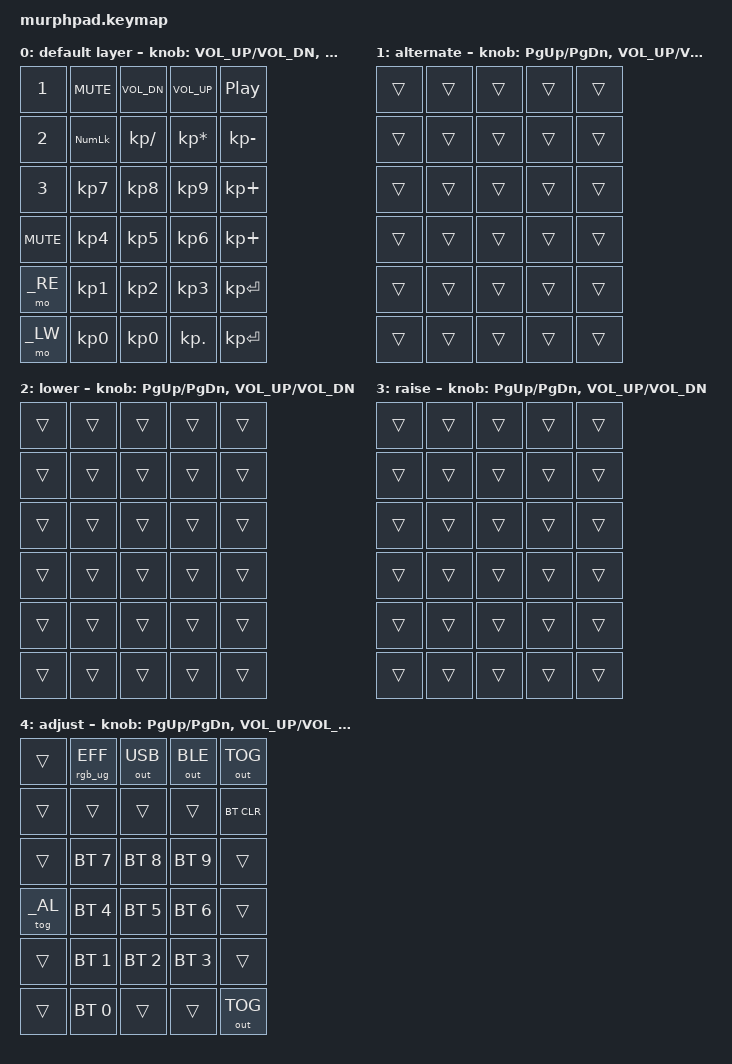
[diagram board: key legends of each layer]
/*
 * Copyright (c) 2021 The ZMK Contributors
 *
 * SPDX-License-Identifier: MIT
 */

#include <behaviors.dtsi>
#include <dt-bindings/zmk/keys.h>
#include <dt-bindings/zmk/rgb.h>
#include <dt-bindings/zmk/outputs.h>
#include <dt-bindings/zmk/bt.h>

#define _DF  0
#define _AL  1
#define _LW  2
#define _RE  3
#define _AJ  4

#define TIMEOUT 300

&encoder_1 {
    status = "okay";
};

&encoder_2 {
    status = "okay";
};

/ {
    conditional_layers {
        compatible = "zmk,conditional-layers";

        adjust_layer {
            if-layers = <_LW _RE>;
            then-layer = <_AJ>;
        };
    };

    combos {
        compatible = "zmk,combos";

        combo_btclr {
            timeout-ms = <TIMEOUT>;
            key-positions = <1 6>;
            bindings = <&bt BT_CLR>;
        };

        combo_reset {
            timeout-ms = <TIMEOUT>;
            key-positions = <1 3>;
            bindings = <&sys_reset>;
        };

        combo_bootloader {
            timeout-ms = <TIMEOUT>;
            key-positions = <1 2>;
            bindings = <&bootloader>;
        };

        combo_bt_nxt {
            timeout-ms = <TIMEOUT>;
            key-positions = <1 4>;
            bindings = <&bt BT_NXT>;
        };
    };

    sensors {
        compatible = "zmk,keymap-sensors";
        sensors = <&encoder_1 &encoder_2>;
    };

    keymap {
         compatible = "zmk,keymap";

         default_layer {
             display-name = "default layer";
             bindings = <
//           ┌────────────┬────────────┬───────────────┬─────────────────┬──────────────┐
               &kp N1       &kp C_MUTE   &kp C_VOL_DN    &kp C_VOL_UP      &kp C_PP
//           ├────────────┼────────────┼───────────────┼─────────────────┼──────────────┤
               &kp N2       &kp KP_NUM   &kp KP_DIVIDE   &kp KP_MULTIPLY   &kp KP_MINUS
//           ├────────────┼────────────┼───────────────┼─────────────────┼──────────────┤
               &kp N3       &kp KP_N7    &kp KP_N8       &kp KP_N9         &kp KP_PLUS
//           ├────────────┼────────────┼───────────────┼─────────────────┼──────────────┤
               &kp C_MUTE   &kp KP_N4    &kp KP_N5       &kp KP_N6         &kp KP_PLUS
//           ├────────────┼────────────┼───────────────┼─────────────────┼──────────────┤
               &mo _RE      &kp KP_N1    &kp KP_N2       &kp KP_N3         &kp KP_ENTER
//           ├────────────┼────────────┼───────────────┼─────────────────┼──────────────┤
               &mo _LW      &kp KP_N0    &kp KP_N0       &kp KP_DOT        &kp KP_ENTER
//           └────────────┴────────────┴───────────────┴─────────────────┴──────────────┘
                 >;
             sensor-bindings = <&inc_dec_kp C_VOL_UP C_VOL_DN &inc_dec_kp PG_UP PG_DN>;

         };

         alternate_layer {
             display-name = "alternate";
             bindings = <
//           ┌────────────┬────────────┬───────────────┬─────────────────┬──────────────┐
               &trans       &trans       &trans          &trans            &trans
//           ├────────────┼────────────┼───────────────┼─────────────────┼──────────────┤
               &trans       &trans       &trans          &trans            &trans
//           ├────────────┼────────────┼───────────────┼─────────────────┼──────────────┤
               &trans       &trans       &trans          &trans            &trans
//           ├────────────┼────────────┼───────────────┼─────────────────┼──────────────┤
               &trans       &trans       &trans          &trans            &trans
//           ├────────────┼────────────┼───────────────┼─────────────────┼──────────────┤
               &trans       &trans       &trans          &trans            &trans
//           ├────────────┼────────────┼───────────────┼─────────────────┼──────────────┤
               &trans       &trans       &trans          &trans            &trans
//           └────────────┴────────────┴───────────────┴─────────────────┴──────────────┘
                 >;
             sensor-bindings = <&inc_dec_kp PG_UP PG_DN &inc_dec_kp C_VOL_UP C_VOL_DN>;

         };

         lower_layer {
             display-name = "lower";
             bindings = <
//           ┌────────────┬────────────┬───────────────┬─────────────────┬──────────────┐
               &trans       &trans       &trans          &trans            &trans
//           ├────────────┼────────────┼───────────────┼─────────────────┼──────────────┤
               &trans       &trans       &trans          &trans            &trans
//           ├────────────┼────────────┼───────────────┼─────────────────┼──────────────┤
               &trans       &trans       &trans          &trans            &trans
//           ├────────────┼────────────┼───────────────┼─────────────────┼──────────────┤
               &trans       &trans       &trans          &trans            &trans
//           ├────────────┼────────────┼───────────────┼─────────────────┼──────────────┤
               &trans       &trans       &trans          &trans            &trans
//           ├────────────┼────────────┼───────────────┼─────────────────┼──────────────┤
               &trans       &trans       &trans          &trans            &trans
//           └────────────┴────────────┴───────────────┴─────────────────┴──────────────┘
                 >;
             sensor-bindings = <&inc_dec_kp PG_UP PG_DN &inc_dec_kp C_VOL_UP C_VOL_DN>;

         };

         raise_layer {
             display-name = "raise";
             bindings = <
//           ┌────────────┬────────────┬───────────────┬─────────────────┬──────────────┐
               &trans       &trans       &trans          &trans            &trans
//           ├────────────┼────────────┼───────────────┼─────────────────┼──────────────┤
               &trans       &trans       &trans          &trans            &trans
//           ├────────────┼────────────┼───────────────┼─────────────────┼──────────────┤
               &trans       &trans       &trans          &trans            &trans
//           ├────────────┼────────────┼───────────────┼─────────────────┼──────────────┤
               &trans       &trans       &trans          &trans            &trans
//           ├────────────┼────────────┼───────────────┼─────────────────┼──────────────┤
               &trans       &trans       &trans          &trans            &trans
//           ├────────────┼────────────┼───────────────┼─────────────────┼──────────────┤
               &trans       &trans       &trans          &trans            &trans
//           └────────────┴────────────┴───────────────┴─────────────────┴──────────────┘
                 >;
             sensor-bindings = <&inc_dec_kp PG_UP PG_DN &inc_dec_kp C_VOL_UP C_VOL_DN>;

         };

         adjust_layer {
             display-name = "adjust";
             bindings = <
//           ┌────────────┬─────────────────┬──────────────┬──────────────┬──────────────┐
               &trans       &rgb_ug RGB_EFF   &out OUT_USB   &out OUT_BLE   &out OUT_TOG
//           ├────────────┼─────────────────┼──────────────┼──────────────┼──────────────┤
               &trans       &trans            &trans         &trans         &bt BT_CLR
//           ├────────────┼─────────────────┼──────────────┼──────────────┼──────────────┤
               &trans       &bt BT_SEL 7      &bt BT_SEL 8   &bt BT_SEL 9   &trans
//           ├────────────┼─────────────────┼──────────────┼──────────────┼──────────────┤
               &tog _AL     &bt BT_SEL 4      &bt BT_SEL 5   &bt BT_SEL 6   &trans
//           ├────────────┼─────────────────┼──────────────┼──────────────┼──────────────┤
               &trans       &bt BT_SEL 1      &bt BT_SEL 2   &bt BT_SEL 3   &trans
//           ├────────────┼─────────────────┼──────────────┼──────────────┼──────────────┤
               &trans       &bt BT_SEL 0      &trans         &trans         &out OUT_TOG
//           └────────────┴─────────────────┴──────────────┴──────────────┴──────────────┘
                 >;
             sensor-bindings = <&inc_dec_kp PG_UP PG_DN &inc_dec_kp C_VOL_UP C_VOL_DN>;

         };
     };
};
